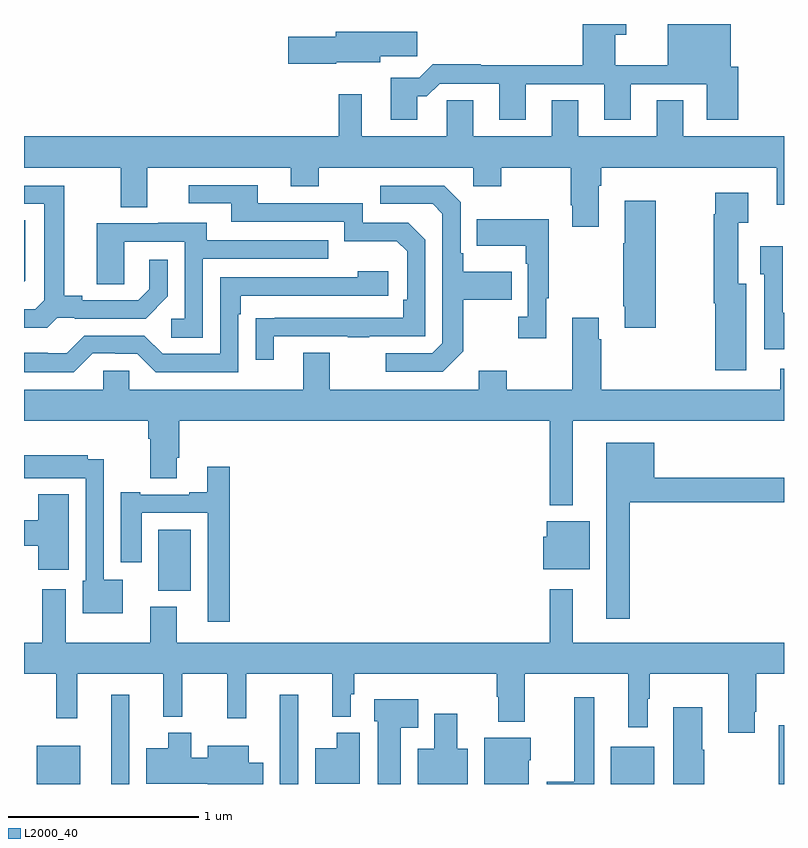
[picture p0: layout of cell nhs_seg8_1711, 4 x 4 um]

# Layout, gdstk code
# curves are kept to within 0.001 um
import gdstk
lib = gdstk.Library(unit=1e-6, precision=1e-09)
def R(c, l, rs):  # rectangles x0, y0, x1, y1
    for r in rs: c.add(gdstk.rectangle(r[:2], r[2:], *l))
def P(c, l, *ps):  # polygons
    for p in ps: c.add(gdstk.Polygon(p, *l))
L2000_40 = (2000, 40)

nhs_seg8_1711 = lib.new_cell('nhs_seg8_1711')
R(nhs_seg8_1711, L2000_40, [(219.068,1135.9,219.295,1136.101), (219.458,1135.9,219.555,1136.371), (222.089,1135.9,222.316,1136.095), (222.972,1135.9,223,1136.209), (219.707,1136.918,219.877,1137.238)])
P(nhs_seg8_1711, L2000_40, [(221.071,1139.519),(221.12,1139.519),(221.187,1139.586),(221.501,1139.586),(221.501,1139.397),(221.641,1139.397),(221.641,1139.583),(222.053,1139.583),(222.053,1139.397),(222.193,1139.397),(222.193,1139.583),(222.593,1139.583),(222.593,1139.397),(222.758,1139.397),(222.758,1139.676),(222.721,1139.676),(222.721,1139.9),(222.389,1139.9),(222.389,1139.684),(222.112,1139.684),(222.112,1139.843),(222.169,1139.843),(222.169,1139.9),(221.942,1139.9),(221.942,1139.684),(221.405,1139.684),(221.405,1139.687),(221.15,1139.687),(221.08,1139.617),(220.931,1139.617),(220.931,1139.397),(221.071,1139.397)],
  [(220.644,1139.699),(220.876,1139.699),(220.876,1139.731),(221.071,1139.731),(221.071,1139.86),(220.64,1139.86),(220.64,1139.834),(220.392,1139.834),(220.392,1139.692),(220.644,1139.692)],
  [(222.025,1139.048),(222.038,1139.048),(222.038,1139.144),(222.962,1139.144),(222.962,1138.95),(223,1138.95),(223,1139.308),(222.469,1139.308),(222.469,1139.498),(222.329,1139.498),(222.329,1139.308),(221.917,1139.308),(221.917,1139.498),(221.777,1139.498),(221.777,1139.308),(221.365,1139.308),(221.365,1139.498),(221.226,1139.498),(221.226,1139.308),(220.777,1139.308),(220.777,1139.53),(220.656,1139.53),(220.656,1139.308),(219,1139.308),(219,1139.144),(219.509,1139.144),(219.509,1138.936),(219.649,1138.936),(219.649,1139.144),(220.403,1139.144),(220.403,1139.045),(220.551,1139.045),(220.551,1139.144),(221.364,1139.144),(221.364,1139.045),(221.511,1139.045),(221.511,1139.144),(221.878,1139.144),(221.878,1138.945),(221.885,1138.945),(221.885,1138.833),(222.025,1138.833)],
  [(220.315,1138.257),(220.705,1138.257),(220.705,1138.252),(220.817,1138.252),(220.817,1138.257),(221.112,1138.257),(221.112,1138.764),(221.022,1138.854),(220.782,1138.854),(220.782,1138.956),(220.231,1138.956),(220.231,1139.052),(219.867,1139.052),(219.867,1138.956),(220.091,1138.956),(220.091,1138.86),(220.686,1138.86),(220.686,1138.757),(220.963,1138.757),(221.016,1138.704),(221.016,1138.45),(220.996,1138.45),(220.996,1138.353),(220.219,1138.352),(220.219,1138.134),(220.315,1138.134)],
  [(221.311,1138.177),(221.311,1138.45),(221.567,1138.45),(221.567,1138.597),(221.311,1138.597),(221.311,1138.693),(221.298,1138.693),(221.298,1138.962),(221.211,1139.049),(220.875,1139.049),(220.875,1138.953),(221.151,1138.953),(221.202,1138.902),(221.202,1138.221),(221.148,1138.167),(220.905,1138.167),(220.905,1138.071),(221.205,1138.071)],
  [(219.174,1138.353),(219.268,1138.353),(219.268,1138.35),(219.64,1138.35),(219.756,1138.466),(219.756,1138.66),(219.659,1138.66),(219.659,1138.503),(219.602,1138.446),(219.307,1138.446),(219.307,1138.469),(219.211,1138.469),(219.211,1139.049),(219,1139.049),(219,1138.953),(219.107,1138.953),(219.107,1138.445),(219.06,1138.398),(219,1138.398),(219,1138.301),(219.122,1138.301)],
  [(222.802,1138.534),(222.76,1138.534),(222.76,1138.855),(222.811,1138.855),(222.811,1139.011),(222.638,1139.011),(222.638,1138.898),(222.631,1138.898),(222.631,1138.43),(222.638,1138.43),(222.638,1138.077),(222.802,1138.077)],
  [(222.324,1138.969),(222.161,1138.969),(222.161,1138.745),(222.154,1138.745),(222.154,1138.414),(222.161,1138.414),(222.161,1138.302),(222.324,1138.302)],
  [(221.749,1138.457),(221.761,1138.457),(221.761,1138.873),(221.383,1138.873),(221.383,1138.733),(221.64,1138.733),(221.64,1138.637),(221.652,1138.637),(221.652,1138.358),(221.601,1138.358),(221.601,1138.245),(221.749,1138.245)],
  [(219.006,1138.55),(219.006,1138.868),(219,1138.868),(219,1138.544)],
  [(219.942,1138.665),(220.601,1138.665),(220.601,1138.761),(219.961,1138.761),(219.961,1138.855),(219.707,1138.855),(219.707,1138.851),(219.383,1138.851),(219.383,1138.531),(219.528,1138.531),(219.528,1138.755),(219.846,1138.755),(219.846,1138.35),(219.774,1138.35),(219.774,1138.249),(219.942,1138.249)],
  [(223,1138.381),(222.993,1138.381),(222.993,1138.729),(222.876,1138.729),(222.876,1138.584),(222.897,1138.584),(222.897,1138.188),(223,1138.188)],
  [(219.363,1138.167),(219.479,1138.167),(219.479,1138.164),(219.597,1138.164),(219.693,1138.068),(220.128,1138.068),(220.128,1138.373),(220.141,1138.373),(220.141,1138.47),(220.918,1138.47),(220.918,1138.6),(220.757,1138.6),(220.757,1138.566),(220.032,1138.566),(220.032,1138.164),(219.729,1138.164),(219.633,1138.26),(219.318,1138.26),(219.225,1138.167),(219.125,1138.167),(219.125,1138.171),(219,1138.171),(219,1138.067),(219.263,1138.067)],
  [(221.887,1137.812),(223,1137.812),(223,1138.086),(222.98,1138.086),(222.98,1137.976),(222.038,1137.976),(222.038,1138.241),(222.025,1138.241),(222.025,1138.354),(221.885,1138.354),(221.885,1137.976),(221.541,1137.976),(221.541,1138.075),(221.393,1138.075),(221.393,1137.976),(220.609,1137.976),(220.609,1138.171),(220.469,1138.171),(220.469,1137.976),(219.555,1137.976),(219.555,1138.074),(219.417,1138.074),(219.417,1137.976),(219,1137.976),(219,1137.812),(219.653,1137.812),(219.653,1137.716),(219.665,1137.716),(219.665,1137.508),(219.805,1137.508),(219.805,1137.616),(219.818,1137.616),(219.818,1137.812),(221.766,1137.812),(221.766,1137.368),(221.887,1137.368)],
  [(222.187,1137.382),(223,1137.382),(223,1137.511),(222.316,1137.511),(222.316,1137.697),(222.065,1137.697),(222.065,1136.769),(222.187,1136.769)],
  [(219.52,1136.974),(219.42,1136.974),(219.42,1137.608),(219.336,1137.608),(219.336,1137.631),(219,1137.631),(219,1137.509),(219.227,1137.509),(219.227,1137.51),(219.324,1137.51),(219.324,1136.97),(219.308,1136.97),(219.308,1136.798),(219.52,1136.798)],
  [(220.082,1137.571),(219.965,1137.571),(219.965,1137.436),(219.869,1137.436),(219.869,1137.423),(219.613,1137.423),(219.613,1137.436),(219.509,1137.436),(219.509,1137.066),(219.619,1137.066),(219.619,1137.327),(219.966,1137.327),(219.966,1136.754),(220.082,1136.754)],
  [(219.235,1137.424),(219.074,1137.424),(219.074,1137.289),(219,1137.289),(219,1137.155),(219.074,1137.155),(219.074,1137.027),(219.235,1137.027)],
  [(221.977,1137.283),(221.75,1137.283),(221.75,1137.201),(221.732,1137.201),(221.732,1137.029),(221.977,1137.029)],
  [(222.847,1136.281),(222.855,1136.281),(222.855,1136.48),(223,1136.48),(223,1136.644),(221.887,1136.644),(221.887,1136.926),(221.766,1136.926),(221.766,1136.644),(219.805,1136.644),(219.805,1136.833),(219.665,1136.833),(219.665,1136.644),(219.22,1136.644),(219.22,1136.926),(219.095,1136.926),(219.095,1136.644),(219,1136.644),(219,1136.48),(219.171,1136.48),(219.171,1136.247),(219.281,1136.247),(219.281,1136.48),(219.734,1136.48),(219.734,1136.255),(219.834,1136.255),(219.834,1136.48),(220.069,1136.48),(220.069,1136.247),(220.169,1136.247),(220.169,1136.48),(220.622,1136.48),(220.622,1136.255),(220.719,1136.255),(220.719,1136.373),(220.739,1136.373),(220.739,1136.48),(221.488,1136.48),(221.488,1136.36),(221.495,1136.36),(221.495,1136.228),(221.635,1136.228),(221.635,1136.48),(222.179,1136.48),(222.179,1136.199),(222.283,1136.199),(222.283,1136.348),(222.293,1136.348),(222.293,1136.48),(222.707,1136.48),(222.707,1136.169),(222.847,1136.169)],
  [(220.443,1136.371),(220.346,1136.371),(220.346,1136.107),(220.347,1136.107),(220.347,1135.9),(220.443,1135.9)],
  [(222.001,1136.356),(221.897,1136.356),(221.897,1135.912),(221.75,1135.912),(221.75,1135.9),(222.001,1135.9)],
  [(220.984,1136.195),(221.074,1136.195),(221.074,1136.347),(220.844,1136.347),(220.844,1136.229),(220.862,1136.229),(220.862,1135.9),(220.984,1135.9)],
  [(222.579,1136.081),(222.571,1136.081),(222.571,1136.305),(222.416,1136.305),(222.416,1135.9),(222.579,1135.9)],
  [(221.335,1136.086),(221.281,1136.086),(221.281,1136.269),(221.159,1136.269),(221.159,1136.086),(221.072,1136.086),(221.072,1135.9),(221.335,1135.9)],
  [(220.768,1136.17),(220.646,1136.17),(220.646,1136.089),(220.532,1136.089),(220.532,1135.901),(220.768,1135.901)],
  [(220.258,1136.011),(220.183,1136.011),(220.183,1136.101),(219.968,1136.101),(219.968,1136.037),(219.88,1136.037),(219.88,1136.17),(219.758,1136.17),(219.758,1136.089),(219.644,1136.089),(219.644,1135.901),(219.968,1135.901),(219.968,1135.9),(220.258,1135.9)],
  [(221.656,1136.025),(221.668,1136.025),(221.668,1136.143),(221.423,1136.143),(221.423,1135.9),(221.656,1135.9)])

lib.write_gds('nhs_seg8_1711.gds')
